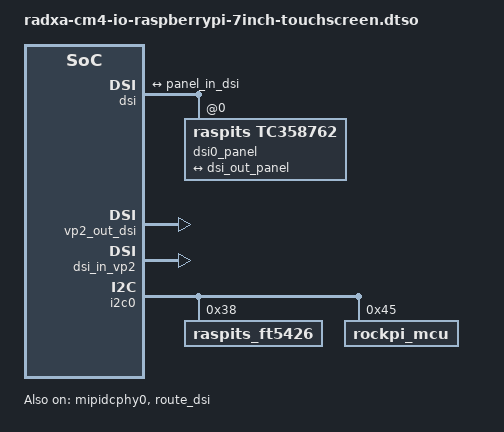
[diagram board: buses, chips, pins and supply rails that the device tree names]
/dts-v1/;
/plugin/;

/ {
	metadata {
		title = "Enable Raspiberry Pi 7-inch Touchscreen";
		compatible = "radxa,cm4-io";
		category = "display";
		exclusive = "dsi";
		description = "Enable Raspiberry Pi 7-inch Touchscreen.";
	};
};

&dsi {
	status = "okay";
	#address-cells = <1>;
	#size-cells = <0>;
	rockchip,lane-rate = <605>;

	dsi0_panel: dsi-panel@0 {
		compatible = "raspits,tc358762";
		reg = <0x0>;
		status = "okay";

		ports {
			#address-cells = <1>;
			#size-cells = <0>;

			port@0 {
				reg = <0>;
				panel_in_dsi: endpoint {
					remote-endpoint = <&dsi_out_panel>;
				};
			};
		};
	};

	ports {
		#address-cells = <1>;
		#size-cells = <0>;

		port@1 {
			reg = <1>;
			dsi_out_panel: endpoint {
				remote-endpoint = <&panel_in_dsi>;
			};
		};
	};
};

&mipidcphy0 {
	status = "okay";
};

&route_dsi {
	status = "okay";
	connect = <&vp2_out_dsi>;
};

&vp2_out_dsi {
	status = "okay";
};

&dsi_in_vp2 {
	status = "okay";
};

&vp1_out_dsi {
	status = "disabled";
};

&dsi_in_vp1 {
	status = "disabled";
};

&i2c0 {
	status = "okay";
	pinctrl-names = "default";
	pinctrl-0 = <&i2c0m1_xfer>;
	#address-cells = <1>;
	#size-cells = <0>;

	raspits_ft5426: raspits_ft5426@38 {
		compatible = "raspits_ft5426";
		reg = <0x38>;
	};

	rockpi_mcu: rockpi-mcu@45 {
		compatible = "rockpi_mcu";
		reg = <0x45>;
	};
};
